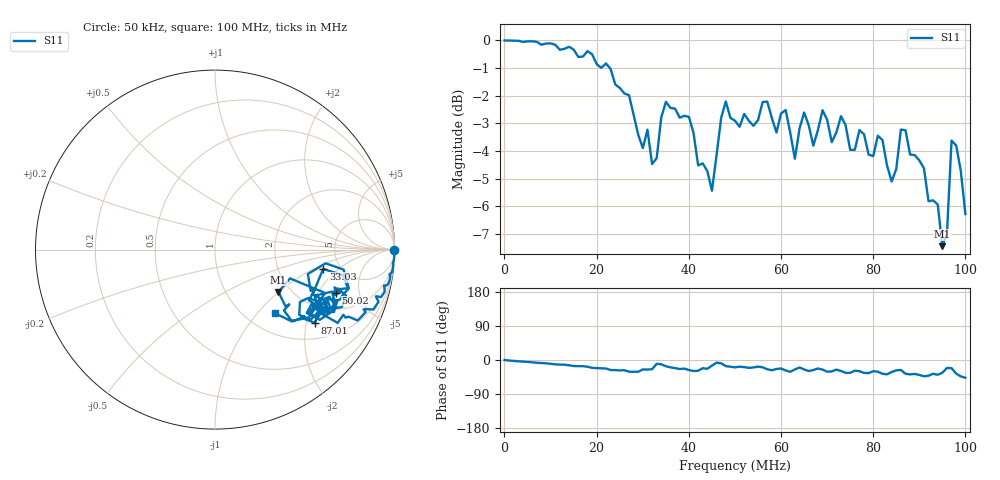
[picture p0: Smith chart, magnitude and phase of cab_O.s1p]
# Hz S RI R 50
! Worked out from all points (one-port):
!   101 points, 50 kHz to 100 MHz, reference 50 ohm
!   lowest |S11| = -7.4 dB at 95 MHz (marker M1), VSWR 2.48, Z = 86.6 - j49.7 ohm
!   |S11| at or under -10 dB: nowhere
!   S11 on the Smith chart (normalised r, x): 50 kHz: open; 33.03 MHz: 3.69, -1.28; 50.02 MHz: 2.99, -2.93; 87.01 MHz: 1.44, -2.24; 100 MHz: 1.34, -1.24
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50000  1 -0.000199
1.30435e7  0.9435 -0.2062
2.50375e7  0.7278 -0.3791
2.90355e7  0.5782 -0.3489
3.10345e7  0.6241 -0.2939
3.30335e7  0.6028 -0.108
3.50325e7  0.7427 -0.2198
3.8031e7  0.6633 -0.2928
4.10295e7  0.5943 -0.3319
4.50275e7  0.5174 -0.1359
4.6027e7  0.6162 -0.0764
4.8026e7  0.7454 -0.2145
5.0025e7  0.6747 -0.2391
5.6022e7  0.7304 -0.2558
6.2019e7  0.5828 -0.3506
6.30185e7  0.5545 -0.257
6.90155e7  0.6757 -0.3205
7.50125e7  0.5261 -0.3542
8.2009e7  0.5326 -0.3911
8.50075e7  0.5203 -0.2691
8.6007e7  0.6182 -0.3067
8.70065e7  0.5545 -0.4075
8.8006e7  0.4899 -0.383
9.10045e7  0.43 -0.4004
9.50025e7  0.3535 -0.2354
9.70015e7  0.6133 -0.2415
9.8001e7  0.5229 -0.379
1e8  0.3326 -0.3537
